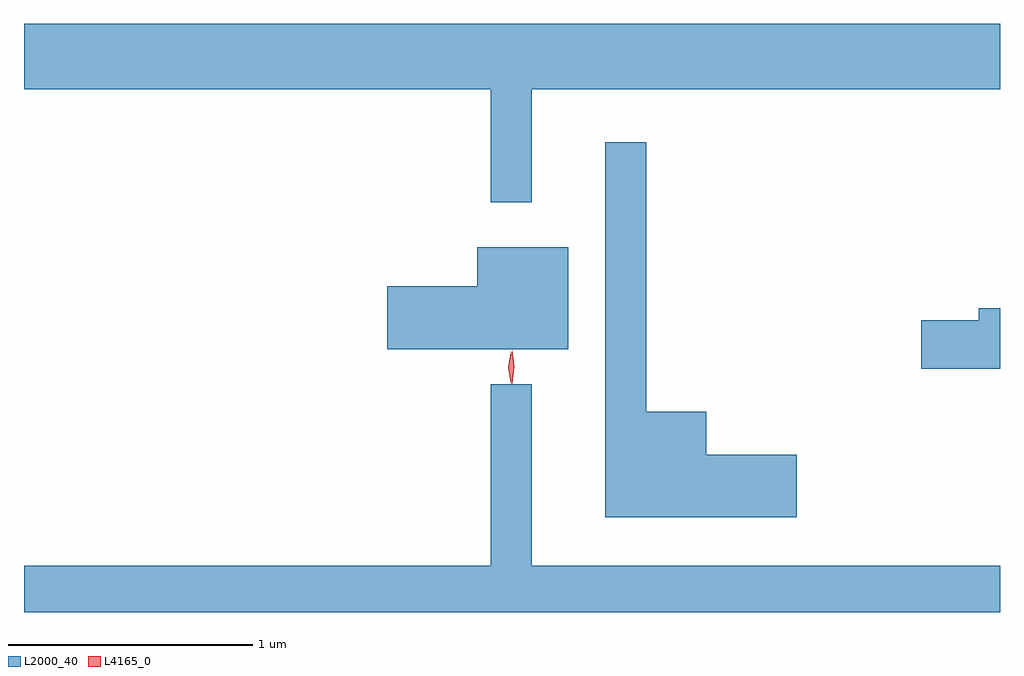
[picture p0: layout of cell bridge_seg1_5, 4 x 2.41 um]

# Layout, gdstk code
import gdstk
lib = gdstk.Library(unit=1e-6, precision=1e-09)
def P(c, l, *ps):  # polygons
    for p in ps: c.add(gdstk.Polygon(p, *l))
L2000_40 = (2000, 40)
L4165_0 = (4165, 0)

bridge_seg1_5 = lib.new_cell('bridge_seg1_5')
P(bridge_seg1_5, L2000_40, [(1615.969,841.856),(1617.888,841.856),(1617.888,842.124),(1613.944,842.124),(1613.944,842.125),(1613.888,842.125),(1613.888,841.856),(1615.801,841.856),(1615.801,841.393),(1615.969,841.393)],
  [(1617.054,840.359),(1616.684,840.359),(1616.684,840.534),(1616.439,840.534),(1616.439,841.638),(1616.271,841.638),(1616.271,840.101),(1617.054,840.101)],
  [(1616.119,841.209),(1615.746,841.209),(1615.746,841.049),(1615.376,841.049),(1615.376,840.791),(1616.119,840.791)],
  [(1617.888,840.959),(1617.801,840.959),(1617.801,840.909),(1617.566,840.909),(1617.566,840.711),(1617.888,840.711)],
  [(1617.888,839.904),(1615.969,839.904),(1615.969,840.648),(1615.801,840.648),(1615.801,839.904),(1613.888,839.904),(1613.888,839.712),(1617.888,839.712)])
P(bridge_seg1_5, L4165_0, [(1615.887,840.65),(1615.887,840.65),(1615.878,840.718),(1615.888,840.786),(1615.889,840.786),(1615.889,840.786),(1615.898,840.718),(1615.888,840.65)],
  [(1615.882,840.653),(1615.882,840.653),(1615.872,840.716),(1615.882,840.779),(1615.882,840.78),(1615.883,840.779),(1615.892,840.716),(1615.883,840.653)])

lib.write_gds('bridge_seg1_5.gds')
